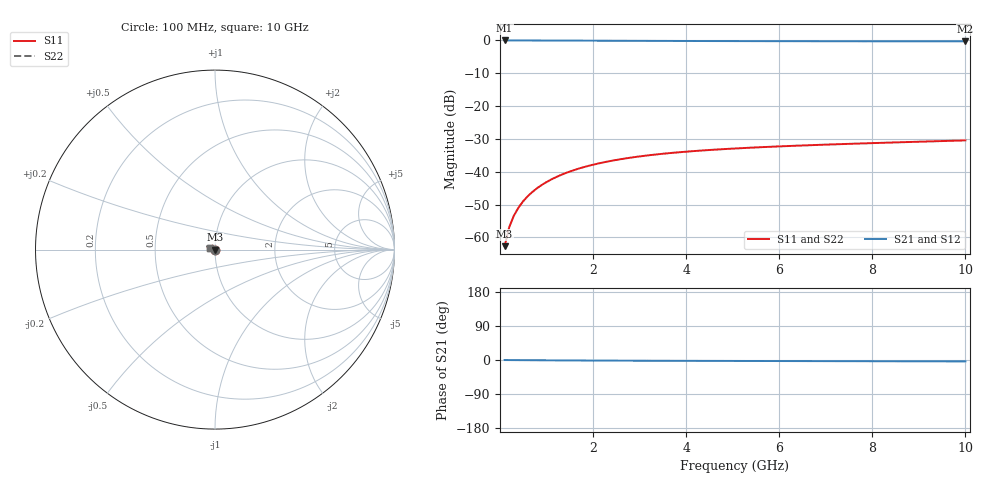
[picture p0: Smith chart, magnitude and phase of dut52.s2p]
! Touchstone file exported from HFSS 2024.1.0
!  File:  C:/UserFiles/LocalFiles/RDL_TSV_Batchsim/temp_TSV1_52_1779372206.aedt
!  Generated:  10:08:41 PM May 21, 2026
!  Design:  TSV1
!  Project:  temp_TSV1_52_1779372206
!  Setup:  Setup1
!  Solution:  Sweep
! Variables:
!  dtsv = 8.49um
!  hbump = 3um
!  htsv = 54.72um
!  lrdl = 252.1521522um
!  p = 40
!  p1 = 48.89um
!  t = 500um
!  trdl = 3um
!  wrdl = 24.89489489um
# GHz S MA R 50.000000
! Terminal data exported
! Port[1] = TSV22_T1
! Port[2] = TSV22_T2
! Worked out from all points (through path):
!   100 points, 100 MHz to 10 GHz, reference 50 ohm
!   highest |S21| = 0.00 dB at 100 MHz (marker M1); lowest = -0.3 dB at 10 GHz (marker M2)
!   lowest |S11| = -62.7 dB at 100 MHz (marker M3), VSWR 1.00, Z = 50 - j0.0722 ohm
!   |S11| at or under -10 dB: start of sweep to end of sweep
!   |S22| runs from -62.7 to -30.5 dB; largest |S21 - S12| = 3.4e-15
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0.1  0.0007349 -79.2  0.9998 -0.1  0.9998 -0.1  0.0007349 -79.2
! Gamma 0 0 0 0
! Port Impedance 50 0 50 0
0.2  0.001441 -87.5  0.9997 -0.2  0.9997 -0.2  0.001441 -87.5
0.3  0.002151 -91.6  0.9996 -0.3  0.9996 -0.3  0.002151 -91.6
0.4  0.002859 -94.7  0.9994 -0.3  0.9994 -0.3  0.002859 -94.7
0.5  0.003562 -97.3  0.9992 -0.4  0.9992 -0.4  0.003562 -97.3
0.6  0.00426 -99.6  0.9989 -0.5  0.9989 -0.5  0.00426 -99.6
0.7  0.004949 -101.9  0.9986 -0.6  0.9986 -0.6  0.004949 -101.9
0.8  0.005631 -104.0  0.9982 -0.7  0.9982 -0.7  0.005631 -104.0
0.9  0.006302 -106.0  0.9978 -0.7  0.9978 -0.7  0.006302 -106.0
1.1  0.00761 -110.0  0.9969 -0.9  0.9969 -0.9  0.00761 -110.0
1.4  0.009474 -115.5  0.9954 -1.1  0.9954 -1.1  0.009474 -115.5
1.6  0.01064 -119.1  0.9943 -1.2  0.9943 -1.2  0.01064 -119.1
1.8  0.01175 -122.5  0.9931 -1.3  0.9931 -1.3  0.01175 -122.5
2.1  0.01329 -127.3  0.9914 -1.5  0.9914 -1.5  0.01329 -127.3
2.5  0.01513 -133.3  0.9891 -1.7  0.9891 -1.7  0.01513 -133.3
2.9  0.01674 -138.8  0.9868 -1.9  0.9868 -1.9  0.01674 -138.8
3.4  0.01847 -145.1  0.9842 -2.0  0.9842 -2.0  0.01847 -145.1
4.2  0.02072 -154.0  0.9806 -2.3  0.9806 -2.3  0.02072 -154.0
5.1  0.0227 -162.6  0.9774 -2.5  0.9774 -2.5  0.0227 -162.6
6.7  0.02543 -175.0  0.9734 -2.9  0.9734 -2.9  0.02543 -175.0
8.4  0.02784 174.5  0.9706 -3.3  0.9706 -3.3  0.02784 174.5
10  0.03002 166.2  0.9687 -3.7  0.9687 -3.7  0.03003 166.2
